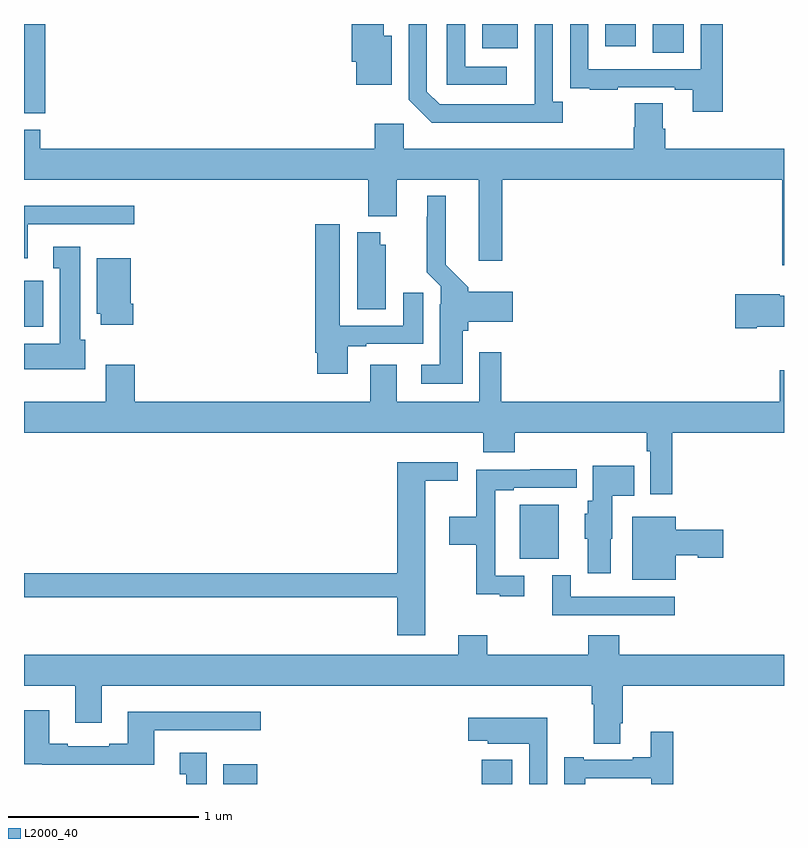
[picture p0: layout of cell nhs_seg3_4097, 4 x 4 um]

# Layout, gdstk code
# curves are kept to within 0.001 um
import gdstk
lib = gdstk.Library(unit=1e-6, precision=1e-09)
def R(c, l, rs):  # rectangles x0, y0, x1, y1
    for r in rs: c.add(gdstk.rectangle(r[:2], r[2:], *l))
def P(c, l, *ps):  # polygons
    for p in ps: c.add(gdstk.Polygon(p, *l))
L2000_40 = (2000, 40)

nhs_seg3_4097 = lib.new_cell('nhs_seg3_4097')
R(nhs_seg3_4097, L2000_40, [(328.049,700.4,328.228,700.504), (329.408,700.4,329.569,700.528), (329.609,701.585,329.815,701.869), (327,702.806,327.1,703.048), (327,703.931,327.113,704.4), (330.308,704.248,330.472,704.4), (329.411,704.273,329.599,704.4), (330.059,704.283,330.22,704.4)])
P(nhs_seg3_4097, L2000_40, [(330.677,704.4),(330.561,704.4),(330.561,704.163),(329.97,704.163),(329.97,704.4),(329.874,704.4),(329.874,704.17),(329.875,704.17),(329.875,704.061),(329.977,704.061),(329.977,704.055),(330.125,704.055),(330.125,704.067),(330.425,704.067),(330.425,704.055),(330.521,704.055),(330.521,703.938),(330.677,703.938)],
  [(328.936,704.338),(328.894,704.338),(328.894,704.4),(328.724,704.4),(328.724,704.202),(328.748,704.202),(328.748,704.081),(328.936,704.081)],
  [(329.542,704.175),(329.322,704.175),(329.322,704.4),(329.226,704.4),(329.226,704.079),(329.542,704.079)],
  [(329.836,703.99),(329.784,703.99),(329.784,704.4),(329.688,704.4),(329.687,703.977),(329.187,703.977),(329.121,704.043),(329.121,704.4),(329.025,704.4),(329.025,704.001),(329.146,703.88),(329.836,703.88)],
  [(331,703.744),(330.374,703.744),(330.374,703.85),(330.361,703.85),(330.361,703.982),(330.214,703.982),(330.214,703.857),(330.209,703.857),(330.209,703.744),(328.998,703.744),(328.998,703.876),(328.847,703.876),(328.847,703.744),(327.086,703.744),(327.086,703.843),(327,703.843),(327,703.58),(328.811,703.58),(328.811,703.388),(328.963,703.388),(328.963,703.58),(329.393,703.58),(329.393,703.155),(329.516,703.155),(329.516,703.58),(330.99,703.58),(330.99,703.131),(331,703.131)],
  [(329.308,702.786),(329.339,702.786),(329.339,702.833),(329.572,702.833),(329.572,702.991),(329.339,702.991),(329.339,703.014),(329.221,703.132),(329.221,703.495),(329.123,703.495),(329.123,703.385),(329.119,703.385),(329.119,703.094),(329.193,703.02),(329.193,702.926),(329.189,702.926),(329.189,702.607),(329.091,702.607),(329.091,702.506),(329.308,702.506)],
  [(327.019,703.347),(327.58,703.347),(327.58,703.444),(327,703.444),(327,703.166),(327.019,703.166)],
  [(328.705,702.705),(328.801,702.705),(328.801,702.717),(329.101,702.717),(329.101,702.985),(328.997,702.985),(328.997,702.813),(328.663,702.813),(328.663,703.345),(328.532,703.345),(328.532,702.67),(328.544,702.67),(328.544,702.558),(328.705,702.558)],
  [(328.903,703.239),(328.876,703.239),(328.876,703.303),(328.754,703.303),(328.754,702.898),(328.903,702.898)],
  [(327.322,702.738),(327.295,702.738),(327.295,703.228),(327.155,703.228),(327.155,703.115),(327.188,703.115),(327.188,702.718),(327,702.718),(327,702.584),(327.322,702.584)],
  [(327.575,702.928),(327.562,702.928),(327.562,703.168),(327.383,703.168),(327.383,702.876),(327.404,702.876),(327.404,702.816),(327.575,702.816)],
  [(330.856,702.806),(331,702.806),(331,702.97),(330.978,702.97),(330.978,702.977),(330.744,702.977),(330.744,702.799),(330.856,702.799)],
  [(330.413,702.248),(331,702.248),(331,702.577),(330.977,702.577),(330.977,702.412),(329.513,702.412),(329.513,702.673),(329.397,702.673),(329.397,702.412),(328.963,702.412),(328.963,702.607),(328.823,702.607),(328.823,702.412),(327.584,702.412),(327.584,702.607),(327.431,702.607),(327.431,702.412),(327,702.412),(327,702.248),(329.417,702.248),(329.417,702.146),(329.582,702.146),(329.582,702.248),(330.277,702.248),(330.277,702.152),(330.297,702.152),(330.297,701.925),(330.413,701.925)],
  [(329.113,701.996),(329.284,701.996),(329.284,702.094),(328.964,702.094),(328.964,701.51),(327,701.51),(327,701.382),(328.964,701.382),(328.964,701.184),(329.113,701.184)],
  [(330.088,701.691),(330.097,701.691),(330.097,701.918),(330.212,701.918),(330.212,702.076),(329.993,702.076),(329.993,701.892),(329.966,701.892),(329.966,701.823),(329.951,701.823),(329.951,701.691),(329.966,701.691),(329.966,701.508),(330.088,701.508)],
  [(329.632,701.496),(329.481,701.496),(329.481,701.946),(329.578,701.946),(329.578,701.958),(329.908,701.958),(329.908,702.056),(329.665,702.056),(329.665,702.054),(329.38,702.054),(329.38,701.806),(329.238,701.806),(329.238,701.659),(329.38,701.659),(329.38,701.399),(329.504,701.399),(329.504,701.388),(329.632,701.388)],
  [(330.43,701.603),(330.546,701.603),(330.546,701.591),(330.679,701.591),(330.679,701.738),(330.43,701.738),(330.43,701.806),(330.2,701.806),(330.2,701.474),(330.43,701.474)],
  [(330.424,701.385),(329.877,701.385),(329.877,701.5),(329.78,701.5),(329.78,701.289),(330.424,701.289)],
  [(330.139,700.72),(330.152,700.72),(330.152,700.916),(331,700.916),(331,701.08),(330.134,701.08),(330.134,701.182),(329.969,701.182),(329.969,701.08),(329.438,701.08),(329.438,701.182),(329.285,701.182),(329.285,701.08),(327,701.08),(327,700.916),(327.269,700.916),(327.269,700.722),(327.409,700.722),(327.409,700.916),(329.987,700.916),(329.987,700.82),(329.999,700.82),(329.999,700.612),(330.139,700.612)],
  [(327.685,700.683),(328.246,700.683),(328.246,700.78),(327.545,700.78),(327.545,700.612),(327.449,700.612),(327.449,700.599),(327.229,700.599),(327.229,700.612),(327.133,700.612),(327.133,700.789),(327,700.789),(327,700.503),(327.097,700.503),(327.097,700.502),(327.685,700.502)],
  [(329.754,700.75),(329.337,700.75),(329.337,700.628),(329.442,700.628),(329.442,700.613),(329.658,700.613),(329.658,700.4),(329.754,700.4)],
  [(329.953,700.431),(330.3,700.431),(330.3,700.4),(330.416,700.4),(330.416,700.675),(330.299,700.675),(330.299,700.54),(330.203,700.54),(330.203,700.527),(329.947,700.527),(329.947,700.54),(329.843,700.54),(329.843,700.4),(329.953,700.4)],
  [(327.961,700.564),(327.821,700.564),(327.821,700.451),(327.854,700.451),(327.854,700.4),(327.961,700.4)])

lib.write_gds('nhs_seg3_4097.gds')
